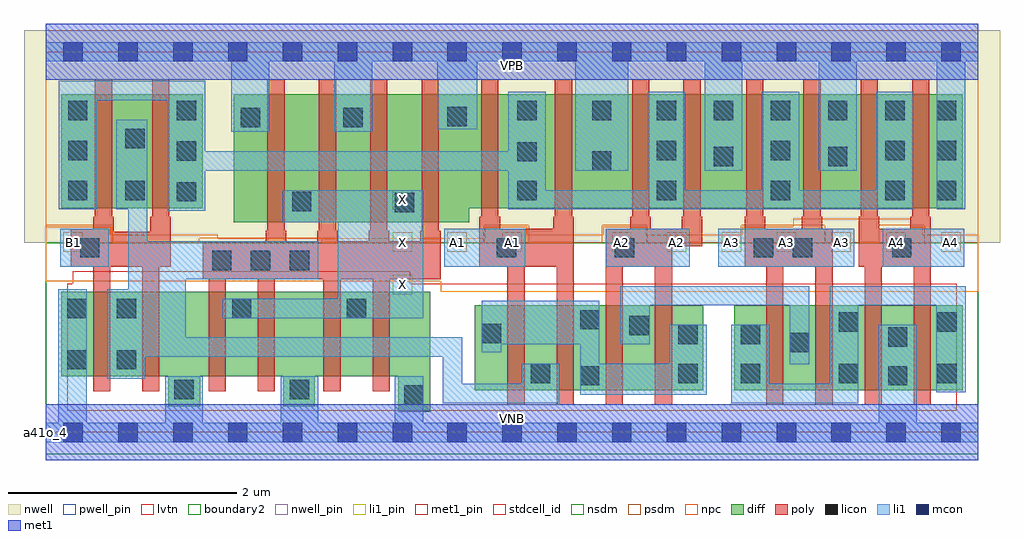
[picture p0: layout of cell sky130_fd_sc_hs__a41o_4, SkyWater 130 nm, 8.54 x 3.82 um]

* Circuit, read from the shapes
.subckt sky130_fd_sc_hs__a41o_4 A1 A2 A3 A4 B1 VGND VNB VPB VPWR X
XM1 n1 B1 VGND VNB sky130_fd_pr__nfet_01v8_lvt w=0.74 l=0.15 m=2
XM2 X n1 VGND VNB sky130_fd_pr__nfet_01v8_lvt w=0.74 l=0.15 m=4
XM3 n1 A1 n2 VNB sky130_fd_pr__nfet_01v8_lvt w=0.74 l=0.15 m=2
XM4 n3 A2 n2 VNB sky130_fd_pr__nfet_01v8_lvt w=0.74 l=0.15 m=2
XM5 n3 A3 n4 VNB sky130_fd_pr__nfet_01v8_lvt w=0.74 l=0.15 m=2
XM6 VGND A4 n4 VNB sky130_fd_pr__nfet_01v8_lvt w=0.74 l=0.15 m=2
XM7 n1 B1 n5 VPB sky130_fd_pr__pfet_01v8 w=1 l=0.15 m=2
XM8 X n1 VPWR VPB sky130_fd_pr__pfet_01v8 w=1.12 l=0.15 m=4
XM9 n5 A1 VPWR VPB sky130_fd_pr__pfet_01v8 w=1 l=0.15 m=2
XM10 n5 A2 VPWR VPB sky130_fd_pr__pfet_01v8 w=1 l=0.15 m=2
XM11 n5 A3 VPWR VPB sky130_fd_pr__pfet_01v8 w=1 l=0.15 m=2
XM12 n5 A4 VPWR VPB sky130_fd_pr__pfet_01v8 w=1 l=0.15 m=2
.ends

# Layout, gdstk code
import gdstk
lib = gdstk.Library(unit=1e-6, precision=1e-09)
def R(c, l, rs):  # rectangles x0, y0, x1, y1
    for r in rs: c.add(gdstk.rectangle(r[:2], r[2:], *l))
def A(c, l, x, y, w, h, nx, ny, dx, dy):  # array of equal rectangles
    R(c, l, [(x+i*dx, y+j*dy, x+i*dx+w, y+j*dy+h) for i in range(nx) for j in range(ny)])
def P(c, l, *ps):  # polygons
    for p in ps: c.add(gdstk.Polygon(p, *l))
nwell_pin = (64, 16)
nwell = (64, 20)
diff = (65, 20)
poly = (66, 20)
licon = (66, 44)
li1_pin = (67, 16)
li1 = (67, 20)
mcon = (67, 44)
met1_pin = (68, 16)
met1 = (68, 20)
stdcell_id = (81, 4)
nsdm = (93, 44)
psdm = (94, 20)
npc = (95, 20)
pwell_pin = (122, 16)
lvtn = (125, 44)
boundary2 = (236, 0)

sky130_fd_sc_hs__a41o_4 = lib.new_cell('sky130_fd_sc_hs__a41o_4')
R(sky130_fd_sc_hs__a41o_4, nwell_pin, [(0,3.085,8.16,3.33)])
R(sky130_fd_sc_hs__a41o_4, nwell, [(-0.19,1.66,8.35,3.52)])
R(sky130_fd_sc_hs__a41o_4, diff, [(3.755,0.37,5.755,1.11), (6.025,0.37,8.025,1.11), (0.135,1.96,1.375,2.96)])
P(sky130_fd_sc_hs__a41o_4, diff, [(3.365,1.23),(0.135,1.23),(0.135,0.49),(1.07,0.49),(1.07,0.23),(1.35,0.23),(1.35,0.49),(2.08,0.49),(2.08,0.23),(2.355,0.23),(2.355,0.49),(3.085,0.49),(3.085,0.18),(3.365,0.18)],
  [(8.025,2.96),(1.645,2.96),(1.645,1.84),(3.705,1.84),(3.705,1.96),(8.025,1.96)])
P(sky130_fd_sc_hs__a41o_4, poly, [(1.095,1.885),(1.08,1.885),(1.08,3.09),(0.93,3.09),(0.93,1.885),(0.915,1.885),(0.915,1.755),(0.595,1.755),(0.595,1.885),(0.58,1.885),(0.58,3.09),(0.43,3.09),(0.43,1.885),(0.415,1.885),(0.415,1.78),(0.22,1.78),(0.22,1.45),(0.415,1.45),(0.415,0.36),(0.565,0.36),(0.565,1.45),(0.845,1.45),(0.845,0.36),(0.995,0.36),(0.995,1.45),(1.095,1.45)],
  [(7.745,1.885),(7.73,1.885),(7.73,3.09),(7.58,3.09),(7.58,1.885),(7.565,1.885),(7.565,1.78),(7.295,1.78),(7.295,1.885),(7.28,1.885),(7.28,3.09),(7.13,3.09),(7.13,1.885),(7.115,1.885),(7.115,1.45),(7.165,1.45),(7.165,0.24),(7.315,0.24),(7.315,1.45),(7.595,1.45),(7.595,0.24),(7.745,0.24)],
  [(6.885,1.78),(6.795,1.78),(6.795,1.885),(6.78,1.885),(6.78,3.09),(6.63,3.09),(6.63,1.885),(6.615,1.885),(6.615,1.78),(6.295,1.78),(6.295,1.885),(6.28,1.885),(6.28,3.09),(6.13,3.09),(6.13,1.885),(6.115,1.885),(6.115,1.45),(6.305,1.45),(6.305,0.24),(6.455,0.24),(6.455,1.45),(6.735,1.45),(6.735,0.24),(6.885,0.24)],
  [(5.745,1.885),(5.73,1.885),(5.73,3.09),(5.58,3.09),(5.58,1.885),(5.565,1.885),(5.565,1.78),(5.295,1.78),(5.295,1.885),(5.28,1.885),(5.28,3.09),(5.13,3.09),(5.13,1.885),(5.115,1.885),(5.115,1.78),(4.9,1.78),(4.9,0.24),(5.05,0.24),(5.05,1.45),(5.33,1.45),(5.33,0.24),(5.48,0.24),(5.48,1.63),(5.745,1.63)],
  [(4.62,1.885),(4.605,1.885),(4.605,3.09),(4.455,3.09),(4.455,1.885),(4.44,1.885),(4.44,1.78),(3.975,1.78),(3.975,1.885),(3.96,1.885),(3.96,3.09),(3.81,3.09),(3.81,1.885),(3.795,1.885),(3.795,1.45),(4.04,1.45),(4.04,0.24),(4.19,0.24),(4.19,1.45),(4.47,1.45),(4.47,0.24),(4.62,0.24)],
  [(3.455,1.765),(3.44,1.765),(3.44,3.09),(3.29,3.09),(3.29,1.765),(3.275,1.765),(3.275,1.67),(3.005,1.67),(3.005,1.765),(2.99,1.765),(2.99,3.09),(2.84,3.09),(2.84,1.765),(2.825,1.765),(2.825,1.67),(2.555,1.67),(2.555,1.765),(2.54,1.765),(2.54,3.09),(2.39,3.09),(2.39,1.765),(2.375,1.765),(2.375,1.67),(2.105,1.67),(2.105,1.765),(2.09,1.765),(2.09,3.09),(1.94,3.09),(1.94,1.765),(1.925,1.765),(1.925,1.67),(1.375,1.67),(1.375,1.34),(1.425,1.34),(1.425,0.36),(1.575,0.36),(1.575,1.34),(1.855,1.34),(1.855,0.36),(2.005,0.36),(2.005,1.34),(2.43,1.34),(2.43,0.36),(2.58,0.36),(2.58,1.34),(2.86,1.34),(2.86,0.36),(3.01,0.36),(3.01,1.34),(3.455,1.34)])
A(sky130_fd_sc_hs__a41o_4, licon, 6.08, 0.43, 0.17, 0.17, 3, 1, 0.86, 0)
A(sky130_fd_sc_hs__a41o_4, licon, 1.455, 1.42, 0.17, 0.17, 3, 1, 0.34, 0)
A(sky130_fd_sc_hs__a41o_4, licon, 1.145, 2.02, 0.17, 0.17, 1, 3, 0, 0.355)
A(sky130_fd_sc_hs__a41o_4, licon, 0.195, 2.03, 0.17, 0.17, 1, 3, 0, 0.35)
A(sky130_fd_sc_hs__a41o_4, licon, 5.345, 2.03, 0.17, 0.17, 3, 2, 1, 0.35)
A(sky130_fd_sc_hs__a41o_4, licon, 7.795, 2.03, 0.17, 0.17, 1, 3, 0, 0.35)
A(sky130_fd_sc_hs__a41o_4, licon, 5.345, 2.73, 0.17, 0.17, 5, 1, 0.5, 0)
R(sky130_fd_sc_hs__a41o_4, licon, [(3.135,0.24,3.305,0.41), (1.125,0.29,1.295,0.46), (2.135,0.29,2.305,0.46), (4.675,0.41,4.845,0.58), (7.37,0.41,7.54,0.58), (4.245,0.43,4.415,0.6), (5.535,0.43,5.705,0.6), (0.19,0.55,0.36,0.72), (0.62,0.55,0.79,0.72), (6.51,0.7,6.68,0.87), (7.37,0.75,7.54,0.92), (5.535,0.77,5.705,0.94), (6.08,0.77,6.25,0.94), (3.815,0.78,3.985,0.95), (5.105,0.85,5.275,1.02), (6.94,0.88,7.11,1.05), (7.8,0.88,7.97,1.05), (4.675,0.9,4.845,1.07), (0.19,1,0.36,1.17), (0.62,1,0.79,1.17), (1.63,1,1.8,1.17), (2.635,1,2.805,1.17), (0.3,1.53,0.47,1.7), (3.945,1.53,4.115,1.7), (4.98,1.53,5.15,1.7), (6.195,1.53,6.365,1.7), (6.535,1.53,6.705,1.7), (7.405,1.53,7.575,1.7), (3.055,1.925,3.225,2.095), (2.155,1.935,2.325,2.105), (0.695,2.03,0.865,2.2), (4.125,2.03,4.295,2.2), (4.78,2.29,4.95,2.46), (5.845,2.33,6.015,2.5), (6.845,2.33,7.015,2.5), (4.125,2.37,4.295,2.54), (0.695,2.485,0.865,2.655), (1.705,2.67,1.875,2.84), (2.605,2.67,2.775,2.84), (3.515,2.68,3.685,2.85), (4.125,2.73,4.295,2.9), (4.78,2.73,4.95,2.9)])
A(sky130_fd_sc_hs__a41o_4, li1_pin, 3.035, 1.58, 0.17, 0.17, 3, 1, 0.48, 0)
A(sky130_fd_sc_hs__a41o_4, li1_pin, 4.955, 1.58, 0.17, 0.17, 7, 1, 0.48, 0)
R(sky130_fd_sc_hs__a41o_4, li1_pin, [(3.035,1.21,3.205,1.38), (0.155,1.58,0.325,1.75), (3.035,1.95,3.205,2.12)])
R(sky130_fd_sc_hs__a41o_4, li1, [(0.125,1.45,0.55,1.78), (3.485,1.45,4.195,1.78), (4.9,1.45,5.635,1.78), (5.885,1.45,7.075,1.78), (7.325,1.45,8.035,1.78)])
P(sky130_fd_sc_hs__a41o_4, li1, [(8.05,1.28),(6.86,1.28),(6.86,0.425),(6.33,0.425),(6.33,0.94),(6,0.94),(6,0.255),(7.11,0.255),(7.11,1.11),(7.79,1.11),(7.79,0.35),(8.05,0.35)],
  [(8.16,0.085),(7.62,0.085),(7.62,0.94),(7.29,0.94),(7.29,0.085),(3.305,0.085),(3.305,0.49),(3.055,0.49),(3.055,0.085),(2.385,0.085),(2.385,0.49),(2.055,0.49),(2.055,0.085),(1.375,0.085),(1.375,0.49),(1.045,0.49),(1.045,0.085),(0.36,0.085),(0.36,1.25),(0.11,1.25),(0.11,0.085),(0,0.085),(0,-0.085),(8.16,-0.085)],
  [(3.305,2.12),(2.075,2.12),(2.075,1.84),(2.555,1.84),(2.555,1.17),(1.55,1.17),(1.55,1),(3.305,1)],
  [(4.495,0.6),(4.165,0.6),(4.165,0.425),(3.645,0.425),(3.645,0.83),(1.225,0.83),(1.225,1.34),(2.385,1.34),(2.385,1.67),(0.89,1.67),(0.89,2.735),(0.615,2.735),(0.615,1.95),(0.72,1.95),(0.72,1.25),(0.54,1.25),(0.54,0.47),(0.87,0.47),(0.87,0.66),(3.475,0.66),(3.475,0.255),(4.495,0.255)],
  [(5.785,0.94),(5.455,0.94),(5.455,0.6),(4.845,0.6),(4.845,1.15),(3.815,1.15),(3.815,0.7),(3.985,0.7),(3.985,0.77),(4.675,0.77),(4.675,0.33),(5.785,0.33)],
  [(6.68,1.28),(5.025,1.28),(5.025,0.77),(5.285,0.77),(5.285,1.11),(6.51,1.11),(6.51,0.595),(6.68,0.595)],
  [(8.16,3.415),(0,3.415),(0,3.245),(1.625,3.245),(1.625,2.63),(1.955,2.63),(1.955,3.245),(2.525,3.245),(2.525,2.63),(2.855,2.63),(2.855,3.245),(3.425,3.245),(3.425,2.65),(3.775,2.65),(3.775,3.245),(4.635,3.245),(4.635,2.29),(5.095,2.29),(5.095,3.245),(5.765,3.245),(5.765,2.29),(6.095,2.29),(6.095,3.245),(6.765,3.245),(6.765,2.29),(7.095,2.29),(7.095,3.245),(7.795,3.245),(7.795,1.95),(8.045,1.95),(8.045,3.245),(8.16,3.245)],
  [(7.595,2.98),(7.265,2.98),(7.265,2.12),(6.595,2.12),(6.595,2.98),(6.265,2.98),(6.265,2.12),(5.595,2.12),(5.595,2.98),(5.265,2.98),(5.265,2.12),(4.375,2.12),(4.375,2.98),(4.045,2.98),(4.045,2.46),(1.395,2.46),(1.395,3.075),(0.115,3.075),(0.115,1.95),(0.445,1.95),(0.445,2.905),(1.065,2.905),(1.065,1.94),(1.395,1.94),(1.395,2.29),(4.045,2.29),(4.045,1.95),(7.595,1.95)])
A(sky130_fd_sc_hs__a41o_4, mcon, 0.155, -0.085, 0.17, 0.17, 17, 2, 0.48, 3.33)
R(sky130_fd_sc_hs__a41o_4, met1_pin, [(0,0,8.16,0.245), (0,3.085,8.16,3.33)])
R(sky130_fd_sc_hs__a41o_4, met1, [(0,-0.245,8.16,0.245), (0,3.085,8.16,3.575)])
R(sky130_fd_sc_hs__a41o_4, stdcell_id, [(0,0,8.16,3.33)])
R(sky130_fd_sc_hs__a41o_4, nsdm, [(0,-0.19,8.16,1.66)])
P(sky130_fd_sc_hs__a41o_4, psdm, [(8.16,3.52),(0,3.52),(0,1.81),(0.58,1.81),(0.58,1.66),(1.345,1.66),(1.345,1.7),(2.415,1.7),(2.415,1.66),(3.835,1.66),(3.835,1.81),(4.225,1.81),(4.225,1.66),(4.87,1.66),(4.87,1.81),(5.26,1.81),(5.26,1.66),(6.085,1.66),(6.085,1.81),(6.815,1.81),(6.815,1.66),(7.295,1.66),(7.295,1.81),(7.685,1.81),(7.685,1.66),(8.16,1.66)])
P(sky130_fd_sc_hs__a41o_4, npc, [(8.16,1.73),(7.675,1.73),(7.675,1.8),(7.57,1.8),(7.57,1.87),(6.54,1.87),(6.54,1.8),(6.095,1.8),(6.095,1.73),(5.25,1.73),(5.25,1.8),(4.88,1.8),(4.88,1.73),(4.215,1.73),(4.215,1.8),(3.845,1.8),(3.845,1.7),(1.505,1.7),(1.505,1.73),(0.57,1.73),(0.57,1.8),(0,1.8),(0,1.32),(3.455,1.32),(3.455,1.23),(8.16,1.23)])
R(sky130_fd_sc_hs__a41o_4, pwell_pin, [(0,0,8.16,0.245)])
P(sky130_fd_sc_hs__a41o_4, lvtn, [(7.97,1.3),(3.19,1.3),(3.19,1.41),(0.235,1.41),(0.235,1.3),(0.19,1.3),(0.19,0.19),(7.97,0.19)])
R(sky130_fd_sc_hs__a41o_4, boundary2, [(0,0,8.16,3.33)])
sky130_fd_sc_hs__a41o_4.add(gdstk.Label('a41o_4', (0,0), layer=83, texttype=44))
sky130_fd_sc_hs__a41o_4.add(gdstk.Label('VNB', (4.08,0.123), layer=64, texttype=59))
sky130_fd_sc_hs__a41o_4.add(gdstk.Label('VPB', (4.08,3.208), layer=64, texttype=5))
sky130_fd_sc_hs__a41o_4.add(gdstk.Label('VPWR', (4.08,3.208), layer=68, texttype=5))
sky130_fd_sc_hs__a41o_4.add(gdstk.Label('VGND', (4.08,0.123), layer=68, texttype=5))
sky130_fd_sc_hs__a41o_4.add(gdstk.Label('X', (3.12,1.665), layer=67, texttype=5))
sky130_fd_sc_hs__a41o_4.add(gdstk.Label('A3', (6,1.665), layer=67, texttype=5))
sky130_fd_sc_hs__a41o_4.add(gdstk.Label('A3', (6.48,1.665), layer=67, texttype=5))
sky130_fd_sc_hs__a41o_4.add(gdstk.Label('A3', (6.96,1.665), layer=67, texttype=5))
sky130_fd_sc_hs__a41o_4.add(gdstk.Label('A4', (7.44,1.665), layer=67, texttype=5))
sky130_fd_sc_hs__a41o_4.add(gdstk.Label('A4', (7.92,1.665), layer=67, texttype=5))
sky130_fd_sc_hs__a41o_4.add(gdstk.Label('A1', (3.6,1.665), layer=67, texttype=5))
sky130_fd_sc_hs__a41o_4.add(gdstk.Label('A1', (4.08,1.665), layer=67, texttype=5))
sky130_fd_sc_hs__a41o_4.add(gdstk.Label('A2', (5.04,1.665), layer=67, texttype=5))
sky130_fd_sc_hs__a41o_4.add(gdstk.Label('A2', (5.52,1.665), layer=67, texttype=5))
sky130_fd_sc_hs__a41o_4.add(gdstk.Label('B1', (0.24,1.665), layer=67, texttype=5))
sky130_fd_sc_hs__a41o_4.add(gdstk.Label('X', (3.12,2.035), layer=67, texttype=5))
sky130_fd_sc_hs__a41o_4.add(gdstk.Label('X', (3.12,1.295), layer=67, texttype=5))

lib.write_gds('sky130_fd_sc_hs__a41o_4.gds')
